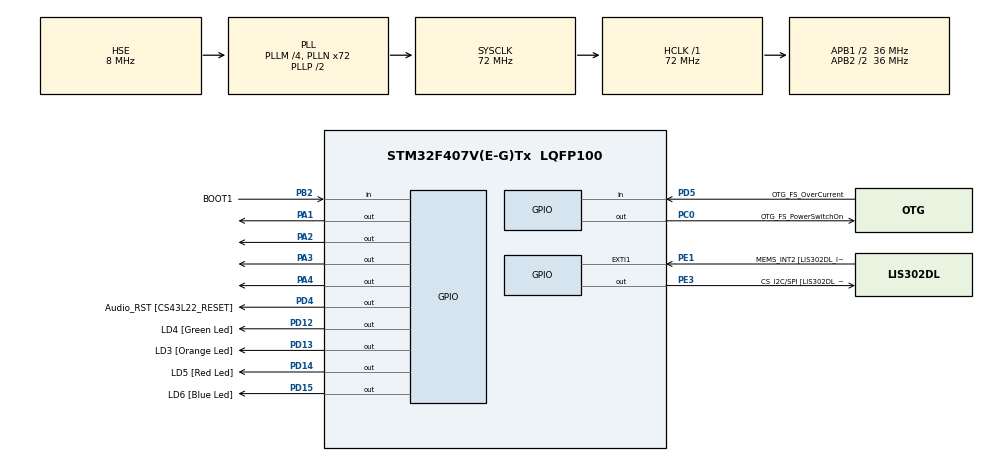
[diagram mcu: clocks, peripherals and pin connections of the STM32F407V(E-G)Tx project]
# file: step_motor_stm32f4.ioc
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Mcu.Family=STM32F4
PA11.GPIO_Speed=GPIO_SPEED_FREQ_LOW
PC3.GPIO_Mode=GPIO_MODE_AF_PP
PD12.GPIO_Label=LD4 [Green Led]
PH0-OSC_IN.Signal=RCC_OSC_IN
RCC.CortexFreq_Value=72000000
PC10.GPIO_PuPd=GPIO_NOPULL
PB10.GPIO_Speed=GPIO_SPEED_FREQ_LOW
PB6.GPIO_Mode=GPIO_MODE_AF_OD
PB10.GPIO_PuPd=GPIO_NOPULL
PA10.GPIO_PuPd=GPIO_NOPULL
PD15.GPIO_Speed=GPIO_SPEED_FREQ_LOW
PC10.Signal=I2S3_CK
PC12.Signal=I2S3_SD
PA14.GPIO_Label=SWCLK
PA7.GPIO_Mode=GPIO_MODE_AF_PP
PC0.GPIO_Label=OTG_FS_PowerSwitchOn
PA6.GPIO_Label=SPI1_MISO [LIS302DL_SDO]
PB6.GPIO_Label=Audio_SCL [CS43L22_SCL]
PC10.GPIO_Speed=GPIO_SPEED_FREQ_LOW
PA11.GPIO_PuPd=GPIO_NOPULL
PC15-OSC32_OUT.GPIO_Label=PC15-OSC32_OUT
PC3.GPIO_Speed=GPIO_SPEED_FREQ_LOW
RCC.SYSCLKSource=RCC_SYSCLKSOURCE_PLLCLK
ProjectManager.StackSize=0x400
PA6.GPIO_Mode=GPIO_MODE_AF_PP
PD13.Signal=GPIO_Output
PD14.GPIO_Speed=GPIO_SPEED_FREQ_LOW
PA12.Signal=USB_OTG_FS_DP
TIM1.Prescaler=72-1
RCC.HCLKFreq_Value=72000000
PD4.Signal=GPIO_Output
RCC.APB2TimFreq_Value=72000000
PB6.Signal=I2C1_SCL
PC7.Signal=I2S3_MCK
PC3.Signal=I2S2_SD
PE1.Signal=GPXTI1
RCC.AHBFreq_Value=72000000
PH0-OSC_IN.Mode=HSE-External-Oscillator
PH0-OSC_IN.GPIO_Label=PH0-OSC_IN
PA9.GPIO_Mode=GPIO_MODE_INPUT
RCC.HSE_VALUE=8000000
PB2.Signal=GPIO_Input
PA6.GPIO_PuPd=GPIO_NOPULL
PC14-OSC32_IN.Mode=LSE-External-Oscillator
PA14.Mode=Serial_Wire
PA5.GPIO_PuPd=GPIO_NOPULL
PA10.GPIO_Label=OTG_FS_ID
PC7.GPIO_Mode=GPIO_MODE_AF_PP
PD5.GPIO_Mode=GPIO_MODE_INPUT
PD14.GPIO_PuPd=GPIO_NOPULL
PB2.GPIO_PuPd=GPIO_NOPULL
VP_TIM1_VS_ClockSourceINT.Mode=Internal
PH1-OSC_OUT.Mode=HSE-External-Oscillator
PD13.GPIO_Label=LD3 [Orange Led]
Mcu.Package=LQFP100
PB9.Signal=I2C1_SDA
PA6.Signal=SPI1_MISO
PD12.Signal=GPIO_Output
PD5.GPIO_Label=OTG_FS_OverCurrent
PD15.GPIO_PuPd=GPIO_NOPULL
PA10.Signal=USB_OTG_FS_ID
PB9.GPIO_PuPd=GPIO_NOPULL
PA10.GPIO_Speed=GPIO_SPEED_FREQ_LOW
RCC.APB2CLKDivider=RCC_HCLK_DIV2
PB9.GPIO_Speed=GPIO_SPEED_FREQ_LOW
RCC.APB1TimFreq_Value=72000000
PC14-OSC32_IN.GPIO_Label=PC14-OSC32_IN
PC12.GPIO_PuPd=GPIO_NOPULL
PA6.GPIO_Speed=GPIO_SPEED_FREQ_LOW
PC0.GPIO_PuPd=GPIO_NOPULL
PA12.GPIO_PuPd=GPIO_NOPULL
PD15.Signal=GPIO_Output
PC0.PinState=GPIO_PIN_SET
PA12.GPIO_Speed=GPIO_SPEED_FREQ_LOW
PA3.Signal=GPIO_Output
PB3.GPIO_Label=SWO
RCC.PLLSourceVirtual=RCC_PLLSOURCE_HSE
PC15-OSC32_OUT.Mode=LSE-External-Oscillator
PD12.GPIO_Speed=GPIO_SPEED_FREQ_LOW
PD15.GPIO_Label=LD6 [Blue Led]
PB9.GPIO_Label=Audio_SDA [CS43L22_SDA]
PC10.GPIO_Label=I2S3_SCK [CS43L22_SCLK]
PA9.GPIO_Label=VBUS_FS
PB6.GPIO_PuPd=GPIO_NOPULL
PA11.GPIO_Label=OTG_FS_DM
PE1.GPIO_PuPd=GPIO_NOPULL
PD5.Signal=GPIO_Input
PC0.Signal=GPIO_Output
PE1.GPIO_ModeDefaultEXTI=GPIO_MODE_EVT_RISING
RCC.APB1CLKDivider=RCC_HCLK_DIV2
PC14-OSC32_IN.Signal=RCC_OSC32_IN
PA9.GPIO_PuPd=GPIO_NOPULL
PA12.GPIO_Label=OTG_FS_DP
PA10.GPIO_Mode=GPIO_MODE_AF_PP
PA13.Signal=SYS_JTMS-SWDIO
PC10.GPIO_Mode=GPIO_MODE_AF_PP
PD4.GPIO_PuPd=GPIO_NOPULL
PC0.GPIO_Speed=GPIO_SPEED_FREQ_LOW
PB10.GPIO_Mode=GPIO_MODE_AF_PP
ProjectManager.TargetToolchain=STM32CubeIDE
PB10.GPIO_Label=CLK_IN [MP45DT02_CLK]
PA9.Signal=USB_OTG_FS_VBUS
PC7.GPIO_PuPd=GPIO_NOPULL
PC15-OSC32_OUT.Signal=RCC_OSC32_OUT
PA1.Signal=GPIO_Output
PA7.GPIO_PuPd=GPIO_NOPULL
PB10.Signal=I2S2_CK
PA5.Signal=SPI1_SCK
board=STM32F407G-DISC1
PD13.GPIO_Speed=GPIO_SPEED_FREQ_LOW
PC7.GPIO_Speed=GPIO_SPEED_FREQ_LOW
RCC.VCOOutputFreq_Value=144000000
PE1.GPIO_Label=MEMS_INT2 [LIS302DL_INT2]
PA7.GPIO_Speed=GPIO_SPEED_FREQ_LOW
PB9.GPIO_Mode=GPIO_MODE_AF_OD
PA12.GPIO_Mode=GPIO_MODE_AF_PP
RCC.APB2Freq_Value=36000000
PB2.GPIO_Mode=GPIO_MODE_INPUT
PD4.GPIO_Label=Audio_RST [CS43L22_RESET]
PD4.GPIO_Speed=GPIO_SPEED_FREQ_LOW
PE3.GPIO_PuPd=GPIO_NOPULL
PH1-OSC_OUT.Signal=RCC_OSC_OUT
PD13.GPIO_PuPd=GPIO_NOPULL
PD5.GPIO_PuPd=GPIO_NOPULL
PD14.GPIO_Label=LD5 [Red Led]
PH1-OSC_OUT.GPIO_Label=PH1-OSC_OUT
PA13.Mode=Serial_Wire
Mcu.Name=STM32F407V(E-G)Tx
PA2.Signal=GPIO_Output
PA13.GPIO_Label=SWDIO
PC7.GPIO_Label=I2S3_MCK [CS43L22_MCLK]
PD14.Signal=GPIO_Output
RCC.48MHZClocksFreq_Value=20571428.57142857
PB3.Signal=SYS_JTDO-SWO
PA4.Signal=GPIO_Output
RCC.SYSCLKFreq_VALUE=72000000
PC12.GPIO_Mode=GPIO_MODE_AF_PP
PA7.GPIO_Label=SPI1_MOSI [LIS302DL_SDA/SDI/SDO]
PA5.GPIO_Label=SPI1_SCK [LIS302DL_SCL/SPC]
PE3.GPIO_Speed=GPIO_SPEED_FREQ_LOW
PC12.GPIO_Label=I2S3_SD [CS43L22_SDIN]
PA11.Signal=USB_OTG_FS_DM
PA14.Signal=SYS_JTCK-SWCLK
PB2.GPIO_Label=BOOT1
ProjectManager.HeapSize=0x200
RCC.HSI_VALUE=16000000
PA5.GPIO_Speed=GPIO_SPEED_FREQ_LOW
RCC.PLLQ=7
NVIC.PriorityGroup=NVIC_PRIORITYGROUP_0
RCC.PLLM=4
RCC.PLLN=72
PE3.Signal=GPIO_Output
PE3.GPIO_Label=CS_I2C/SPI [LIS302DL_CS_I2C/SPI]
PC3.GPIO_Label=PDM_OUT [MP45DT02_DOUT]
PA11.GPIO_Mode=GPIO_MODE_AF_PP
PB6.GPIO_Speed=GPIO_SPEED_FREQ_LOW
RCC.APB1Freq_Value=36000000
PA5.GPIO_Mode=GPIO_MODE_AF_PP
PC12.GPIO_Speed=GPIO_SPEED_FREQ_LOW
PC3.GPIO_PuPd=GPIO_NOPULL
PD12.GPIO_PuPd=GPIO_NOPULL
PA7.Signal=SPI1_MOSI

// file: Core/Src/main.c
/* USER CODE BEGIN Header */
/**
  ******************************************************************************
  * @file           : main.c
  * @brief          : Main program body
  ******************************************************************************
  * @attention
  *
  * <h2><center>&copy; Copyright (c) 2022 STMicroelectronics.
  * All rights reserved.</center></h2>
  *
  * This software component is licensed by ST under BSD 3-Clause license,
  * the "License"; You may not use this file except in compliance with the
  * License. You may obtain a copy of the License at:
  *                        opensource.org/licenses/BSD-3-Clause
  *
  ******************************************************************************
  */
/* USER CODE END Header */
#include "main.h"

/* USER CODE BEGIN PD */
#define stepsperrev 4096

/* USER CODE END PD */

TIM_HandleTypeDef htim1;

void SystemClock_Config(void);
static void MX_GPIO_Init(void);
static void MX_TIM1_Init(void);
/* USER CODE BEGIN PFP */

void motor_step_angle(float angle, int direction, int RPM);
void stepper_half_drive(int step);
void delay_ms(uint16_t us);

/* USER CODE END PFP */

int main(void)
{

  /* MCU Configuration--------------------------------------------------------*/

  /* Reset of all peripherals, Initializes the Flash interface and the Systick. */
  HAL_Init();

  /* Configure the system clock */
  SystemClock_Config();

  /* Initialize all configured peripherals */
  MX_GPIO_Init();
  MX_TIM1_Init();
  /* USER CODE BEGIN 2 */
  HAL_TIM_Base_Start(&htim1);

  /* USER CODE END 2 */

  /* Infinite loop */
  while (1)
  {

    /* USER CODE BEGIN 3 */

	  motor_step_angle(90, 1, 13);
	  HAL_Delay(500);

  }
  /* USER CODE END 3 */
}

void SystemClock_Config(void)
{
  RCC_OscInitTypeDef RCC_OscInitStruct = {0};
  RCC_ClkInitTypeDef RCC_ClkInitStruct = {0};

  /** Configure the main internal regulator output voltage
  */
  __HAL_RCC_PWR_CLK_ENABLE();
  __HAL_PWR_VOLTAGESCALING_CONFIG(PWR_REGULATOR_VOLTAGE_SCALE1);
  /** Initializes the RCC Oscillators according to the specified parameters
  * in the RCC_OscInitTypeDef structure.
  */
  RCC_OscInitStruct.OscillatorType = RCC_OSCILLATORTYPE_HSE;
  RCC_OscInitStruct.HSEState = RCC_HSE_ON;
  RCC_OscInitStruct.PLL.PLLState = RCC_PLL_ON;
  RCC_OscInitStruct.PLL.PLLSource = RCC_PLLSOURCE_HSE;
  RCC_OscInitStruct.PLL.PLLM = 4;
  RCC_OscInitStruct.PLL.PLLN = 72;
  RCC_OscInitStruct.PLL.PLLP = RCC_PLLP_DIV2;
  RCC_OscInitStruct.PLL.PLLQ = 7;
  if (HAL_RCC_OscConfig(&RCC_OscInitStruct) != HAL_OK)
  {
    Error_Handler();
  }
  /** Initializes the CPU, AHB and APB buses clocks
  */
  RCC_ClkInitStruct.ClockType = RCC_CLOCKTYPE_HCLK|RCC_CLOCKTYPE_SYSCLK
                              |RCC_CLOCKTYPE_PCLK1|RCC_CLOCKTYPE_PCLK2;
  RCC_ClkInitStruct.SYSCLKSource = RCC_SYSCLKSOURCE_PLLCLK;
  RCC_ClkInitStruct.AHBCLKDivider = RCC_SYSCLK_DIV1;
  RCC_ClkInitStruct.APB1CLKDivider = RCC_HCLK_DIV2;
  RCC_ClkInitStruct.APB2CLKDivider = RCC_HCLK_DIV2;

  if (HAL_RCC_ClockConfig(&RCC_ClkInitStruct, FLASH_LATENCY_2) != HAL_OK)
  {
    Error_Handler();
  }
}

static void MX_TIM1_Init(void)
{

  TIM_ClockConfigTypeDef sClockSourceConfig = {0};
  TIM_MasterConfigTypeDef sMasterConfig = {0};

  htim1.Instance = TIM1;
  htim1.Init.Prescaler = 72-1;
  htim1.Init.CounterMode = TIM_COUNTERMODE_UP;
  htim1.Init.Period = 65535;
  htim1.Init.ClockDivision = TIM_CLOCKDIVISION_DIV1;
  htim1.Init.RepetitionCounter = 0;
  htim1.Init.AutoReloadPreload = TIM_AUTORELOAD_PRELOAD_DISABLE;
  if (HAL_TIM_Base_Init(&htim1) != HAL_OK)
  {
    Error_Handler();
  }
  sClockSourceConfig.ClockSource = TIM_CLOCKSOURCE_INTERNAL;
  if (HAL_TIM_ConfigClockSource(&htim1, &sClockSourceConfig) != HAL_OK)
  {
    Error_Handler();
  }
  sMasterConfig.MasterOutputTrigger = TIM_TRGO_RESET;
  sMasterConfig.MasterSlaveMode = TIM_MASTERSLAVEMODE_DISABLE;
  if (HAL_TIMEx_MasterConfigSynchronization(&htim1, &sMasterConfig) != HAL_OK)
  {
    Error_Handler();
  }

}

static void MX_GPIO_Init(void)
{
  GPIO_InitTypeDef GPIO_InitStruct = {0};

  /* GPIO Ports Clock Enable */
  __HAL_RCC_GPIOE_CLK_ENABLE();
  __HAL_RCC_GPIOC_CLK_ENABLE();
  __HAL_RCC_GPIOH_CLK_ENABLE();
  __HAL_RCC_GPIOA_CLK_ENABLE();
  __HAL_RCC_GPIOB_CLK_ENABLE();
  __HAL_RCC_GPIOD_CLK_ENABLE();

  /*Configure GPIO pin Output Level */
  HAL_GPIO_WritePin(CS_I2C_SPI_GPIO_Port, CS_I2C_SPI_Pin, GPIO_PIN_RESET);

  /*Configure GPIO pin Output Level */
  HAL_GPIO_WritePin(OTG_FS_PowerSwitchOn_GPIO_Port, OTG_FS_PowerSwitchOn_Pin, GPIO_PIN_SET);

  /*Configure GPIO pin Output Level */
  HAL_GPIO_WritePin(GPIOA, GPIO_PIN_1|GPIO_PIN_2|GPIO_PIN_3|GPIO_PIN_4, GPIO_PIN_RESET);

  /*Configure GPIO pin Output Level */
  HAL_GPIO_WritePin(GPIOD, LD4_Pin|LD3_Pin|LD5_Pin|LD6_Pin
                          |Audio_RST_Pin, GPIO_PIN_RESET);

  /*Configure GPIO pin : CS_I2C_SPI_Pin */
  GPIO_InitStruct.Pin = CS_I2C_SPI_Pin;
  GPIO_InitStruct.Mode = GPIO_MODE_OUTPUT_PP;
  GPIO_InitStruct.Pull = GPIO_NOPULL;
  GPIO_InitStruct.Speed = GPIO_SPEED_FREQ_LOW;
  HAL_GPIO_Init(CS_I2C_SPI_GPIO_Port, &GPIO_InitStruct);

  /*Configure GPIO pin : OTG_FS_PowerSwitchOn_Pin */
  GPIO_InitStruct.Pin = OTG_FS_PowerSwitchOn_Pin;
  GPIO_InitStruct.Mode = GPIO_MODE_OUTPUT_PP;
  GPIO_InitStruct.Pull = GPIO_NOPULL;
  GPIO_InitStruct.Speed = GPIO_SPEED_FREQ_LOW;
  HAL_GPIO_Init(OTG_FS_PowerSwitchOn_GPIO_Port, &GPIO_InitStruct);

  /*Configure GPIO pin : PDM_OUT_Pin */
  GPIO_InitStruct.Pin = PDM_OUT_Pin;
  GPIO_InitStruct.Mode = GPIO_MODE_AF_PP;
  GPIO_InitStruct.Pull = GPIO_NOPULL;
  GPIO_InitStruct.Speed = GPIO_SPEED_FREQ_LOW;
  GPIO_InitStruct.Alternate = GPIO_AF5_SPI2;
  HAL_GPIO_Init(PDM_OUT_GPIO_Port, &GPIO_InitStruct);

  /*Configure GPIO pins : PA1 PA2 PA3 PA4 */
  GPIO_InitStruct.Pin = GPIO_PIN_1|GPIO_PIN_2|GPIO_PIN_3|GPIO_PIN_4;
  GPIO_InitStruct.Mode = GPIO_MODE_OUTPUT_PP;
  GPIO_InitStruct.Pull = GPIO_NOPULL;
  GPIO_InitStruct.Speed = GPIO_SPEED_FREQ_LOW;
  HAL_GPIO_Init(GPIOA, &GPIO_InitStruct);

  /*Configure GPIO pins : SPI1_SCK_Pin SPI1_MISO_Pin SPI1_MOSI_Pin */
  GPIO_InitStruct.Pin = SPI1_SCK_Pin|SPI1_MISO_Pin|SPI1_MOSI_Pin;
  GPIO_InitStruct.Mode = GPIO_MODE_AF_PP;
  GPIO_InitStruct.Pull = GPIO_NOPULL;
  GPIO_InitStruct.Speed = GPIO_SPEED_FREQ_LOW;
  GPIO_InitStruct.Alternate = GPIO_AF5_SPI1;
  HAL_GPIO_Init(GPIOA, &GPIO_InitStruct);

  /*Configure GPIO pin : BOOT1_Pin */
  GPIO_InitStruct.Pin = BOOT1_Pin;
  GPIO_InitStruct.Mode = GPIO_MODE_INPUT;
  GPIO_InitStruct.Pull = GPIO_NOPULL;
  HAL_GPIO_Init(BOOT1_GPIO_Port, &GPIO_InitStruct);

  /*Configure GPIO pin : CLK_IN_Pin */
  GPIO_InitStruct.Pin = CLK_IN_Pin;
  GPIO_InitStruct.Mode = GPIO_MODE_AF_PP;
  GPIO_InitStruct.Pull = GPIO_NOPULL;
  GPIO_InitStruct.Speed = GPIO_SPEED_FREQ_LOW;
  GPIO_InitStruct.Alternate = GPIO_AF5_SPI2;
  HAL_GPIO_Init(CLK_IN_GPIO_Port, &GPIO_InitStruct);

  /*Configure GPIO pins : LD4_Pin LD3_Pin LD5_Pin LD6_Pin
                           Audio_RST_Pin */
  GPIO_InitStruct.Pin = LD4_Pin|LD3_Pin|LD5_Pin|LD6_Pin
                          |Audio_RST_Pin;
  GPIO_InitStruct.Mode = GPIO_MODE_OUTPUT_PP;
  GPIO_InitStruct.Pull = GPIO_NOPULL;
  GPIO_InitStruct.Speed = GPIO_SPEED_FREQ_LOW;
  HAL_GPIO_Init(GPIOD, &GPIO_InitStruct);

  /*Configure GPIO pins : I2S3_MCK_Pin I2S3_SCK_Pin I2S3_SD_Pin */
  GPIO_InitStruct.Pin = I2S3_MCK_Pin|I2S3_SCK_Pin|I2S3_SD_Pin;
  GPIO_InitStruct.Mode = GPIO_MODE_AF_PP;
  GPIO_InitStruct.Pull = GPIO_NOPULL;
  GPIO_InitStruct.Speed = GPIO_SPEED_FREQ_LOW;
  GPIO_InitStruct.Alternate = GPIO_AF6_SPI3;
  HAL_GPIO_Init(GPIOC, &GPIO_InitStruct);

  /*Configure GPIO pin : VBUS_FS_Pin */
  GPIO_InitStruct.Pin = VBUS_FS_Pin;
  GPIO_InitStruct.Mode = GPIO_MODE_INPUT;
  GPIO_InitStruct.Pull = GPIO_NOPULL;
  HAL_GPIO_Init(VBUS_FS_GPIO_Port, &GPIO_InitStruct);

  /*Configure GPIO pins : OTG_FS_ID_Pin OTG_FS_DM_Pin OTG_FS_DP_Pin */
  GPIO_InitStruct.Pin = OTG_FS_ID_Pin|OTG_FS_DM_Pin|OTG_FS_DP_Pin;
  GPIO_InitStruct.Mode = GPIO_MODE_AF_PP;
  GPIO_InitStruct.Pull = GPIO_NOPULL;
  GPIO_InitStruct.Speed = GPIO_SPEED_FREQ_LOW;
  GPIO_InitStruct.Alternate = GPIO_AF10_OTG_FS;
  HAL_GPIO_Init(GPIOA, &GPIO_InitStruct);

  /*Configure GPIO pin : OTG_FS_OverCurrent_Pin */
  GPIO_InitStruct.Pin = OTG_FS_OverCurrent_Pin;
  GPIO_InitStruct.Mode = GPIO_MODE_INPUT;
  GPIO_InitStruct.Pull = GPIO_NOPULL;
  HAL_GPIO_Init(OTG_FS_OverCurrent_GPIO_Port, &GPIO_InitStruct);

  /*Configure GPIO pins : Audio_SCL_Pin Audio_SDA_Pin */
  GPIO_InitStruct.Pin = Audio_SCL_Pin|Audio_SDA_Pin;
  GPIO_InitStruct.Mode = GPIO_MODE_AF_OD;
  GPIO_InitStruct.Pull = GPIO_PULLUP;
  GPIO_InitStruct.Speed = GPIO_SPEED_FREQ_LOW;
  GPIO_InitStruct.Alternate = GPIO_AF4_I2C1;
  HAL_GPIO_Init(GPIOB, &GPIO_InitStruct);

  /*Configure GPIO pin : MEMS_INT2_Pin */
  GPIO_InitStruct.Pin = MEMS_INT2_Pin;
  GPIO_InitStruct.Mode = GPIO_MODE_EVT_RISING;
  GPIO_InitStruct.Pull = GPIO_NOPULL;
  HAL_GPIO_Init(MEMS_INT2_GPIO_Port, &GPIO_InitStruct);

}

/* USER CODE BEGIN 4 */

void delay_ms(uint16_t us)
{
	__HAL_TIM_SET_COUNTER(&htim1, 0);

	while(__HAL_TIM_GET_COUNTER(&htim1) < us);
}

void stepper_set_rpm (int rpm)  // Set rpm--> max 13, min 1,,,  went to 14 rev/min
{
	delay_ms(60000000/stepsperrev/rpm);
}

void stepper_half_drive(int step)
{
	switch (step){
		case 0:
			  HAL_GPIO_WritePin(GPIOA, GPIO_PIN_1, GPIO_PIN_SET);   // IN1
			  HAL_GPIO_WritePin(GPIOA, GPIO_PIN_2, GPIO_PIN_RESET);   // IN2
			  HAL_GPIO_WritePin(GPIOA, GPIO_PIN_3, GPIO_PIN_RESET);   // IN3
			  HAL_GPIO_WritePin(GPIOA, GPIO_PIN_4, GPIO_PIN_RESET);   // IN4
			  break;

		case 1:
			  HAL_GPIO_WritePin(GPIOA, GPIO_PIN_1, GPIO_PIN_SET);   // IN1
			  HAL_GPIO_WritePin(GPIOA, GPIO_PIN_2, GPIO_PIN_SET);   // IN2
			  HAL_GPIO_WritePin(GPIOA, GPIO_PIN_3, GPIO_PIN_RESET);   // IN3
			  HAL_GPIO_WritePin(GPIOA, GPIO_PIN_4, GPIO_PIN_RESET);   // IN4
			  break;

		case 2:
			  HAL_GPIO_WritePin(GPIOA, GPIO_PIN_1, GPIO_PIN_RESET);   // IN1
			  HAL_GPIO_WritePin(GPIOA, GPIO_PIN_2, GPIO_PIN_SET);   // IN2
			  HAL_GPIO_WritePin(GPIOA, GPIO_PIN_3, GPIO_PIN_RESET);   // IN3
			  HAL_GPIO_WritePin(GPIOA, GPIO_PIN_4, GPIO_PIN_RESET);   // IN4
			  break;

		case 3:
			  HAL_GPIO_WritePin(GPIOA, GPIO_PIN_1, GPIO_PIN_RESET);   // IN1
			  HAL_GPIO_WritePin(GPIOA, GPIO_PIN_2, GPIO_PIN_SET);   // IN2
			  HAL_GPIO_WritePin(GPIOA, GPIO_PIN_3, GPIO_PIN_SET);   // IN3
			  HAL_GPIO_WritePin(GPIOA, GPIO_PIN_4, GPIO_PIN_RESET);   // IN4
			  break;

		case 4:
			  HAL_GPIO_WritePin(GPIOA, GPIO_PIN_1, GPIO_PIN_RESET);   // IN1
			  HAL_GPIO_WritePin(GPIOA, GPIO_PIN_2, GPIO_PIN_RESET);   // IN2
			  HAL_GPIO_WritePin(GPIOA, GPIO_PIN_3, GPIO_PIN_SET);   // IN3
			  HAL_GPIO_WritePin(GPIOA, GPIO_PIN_4, GPIO_PIN_RESET);   // IN4
			  break;

		case 5:
			  HAL_GPIO_WritePin(GPIOA, GPIO_PIN_1, GPIO_PIN_RESET);   // IN1
			  HAL_GPIO_WritePin(GPIOA, GPIO_PIN_2, GPIO_PIN_RESET);   // IN2
			  HAL_GPIO_WritePin(GPIOA, GPIO_PIN_3, GPIO_PIN_SET);   // IN3
			  HAL_GPIO_WritePin(GPIOA, GPIO_PIN_4, GPIO_PIN_SET);   // IN4
			  break;

		case 6:
			  HAL_GPIO_WritePin(GPIOA, GPIO_PIN_1, GPIO_PIN_RESET);   // IN1
			  HAL_GPIO_WritePin(GPIOA, GPIO_PIN_2, GPIO_PIN_RESET);   // IN2
			  HAL_GPIO_WritePin(GPIOA, GPIO_PIN_3, GPIO_PIN_RESET);   // IN3
			  HAL_GPIO_WritePin(GPIOA, GPIO_PIN_4, GPIO_PIN_SET);   // IN4
			  break;

		case 7:
			  HAL_GPIO_WritePin(GPIOA, GPIO_PIN_1, GPIO_PIN_SET);   // IN1
			  HAL_GPIO_WritePin(GPIOA, GPIO_PIN_2, GPIO_PIN_RESET);   // IN2
			  HAL_GPIO_WritePin(GPIOA, GPIO_PIN_3, GPIO_PIN_RESET);   // IN3
			  HAL_GPIO_WritePin(GPIOA, GPIO_PIN_4, GPIO_PIN_SET);   // IN4
			  break;

		}
}
void motor_step_angle(float angle, int direction, int RPM)
{
	float anglepersequence = 0.703125;  // 360 = 512 sequences
	int numberofsequences = (int) (angle/anglepersequence);

	for (int seq=0; seq<numberofsequences; seq++)
	{
		if (direction == 0)  // for clockwise
		{
			for (int step=7; step>=0; step--)
			{
				stepper_half_drive(step);
				stepper_set_rpm(RPM);
			}

		}

		else if (direction == 1)  // for anti-clockwise
		{
			for (int step=0; step<8; step++)
			{
				stepper_half_drive(step);
				stepper_set_rpm(RPM);
			}
		}
	}
}
/* USER CODE END 4 */

void Error_Handler(void)
{
  __disable_irq();
  while (1)
  {
  }
}

/************************ (C) COPYRIGHT STMicroelectronics *****END OF FILE****/
